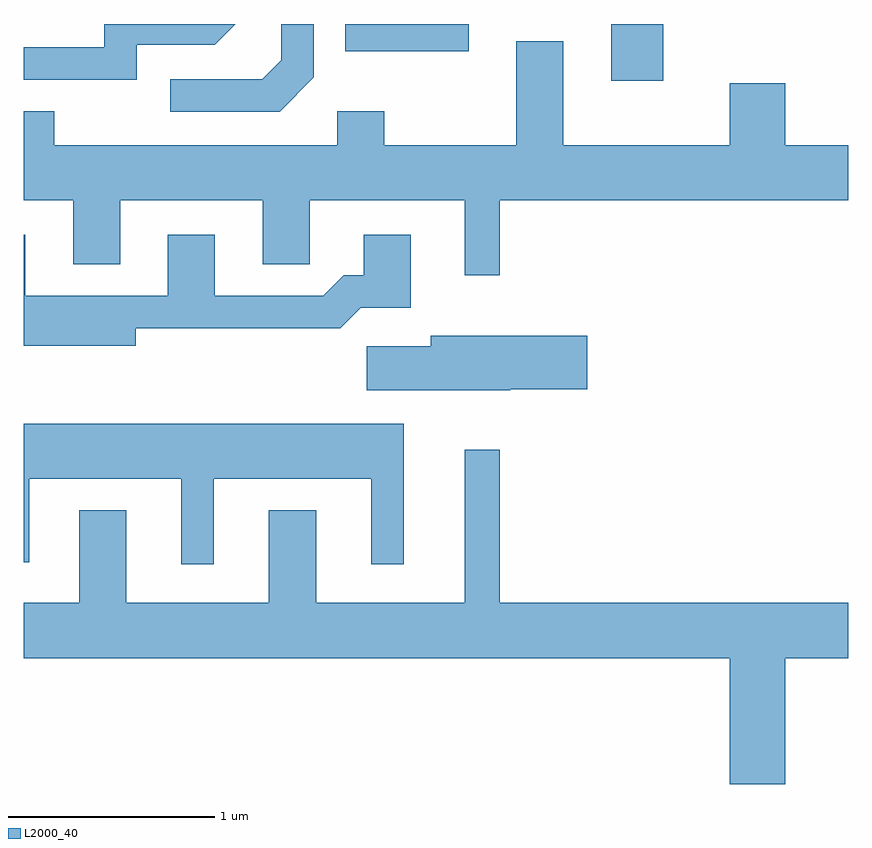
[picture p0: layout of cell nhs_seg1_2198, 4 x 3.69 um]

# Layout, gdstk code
import gdstk
lib = gdstk.Library(unit=1e-6, precision=1e-09)
def R(c, l, rs):  # rectangles x0, y0, x1, y1
    for r in rs: c.add(gdstk.rectangle(r[:2], r[2:], *l))
def P(c, l, *ps):  # polygons
    for p in ps: c.add(gdstk.Polygon(p, *l))
L2000_40 = (2000, 40)

nhs_seg1_2198 = lib.new_cell('nhs_seg1_2198')
R(nhs_seg1_2198, L2000_40, [(254.461,953.436,254.714,953.712), (253.171,953.581,253.769,953.712)])
P(nhs_seg1_2198, L2000_40, [(252.159,953.611),(252.537,953.611),(252.637,953.712),(252.001,953.712),(252.001,953.599),(251.611,953.599),(251.611,953.441),(252.159,953.441)],
  [(253.019,953.454),(253.019,953.712),(252.861,953.712),(252.861,953.537),(252.769,953.444),(252.323,953.444),(252.323,953.286),(252.852,953.286)],
  [(253.919,952.856),(255.611,952.856),(255.611,953.124),(255.304,953.124),(255.304,953.424),(255.036,953.424),(255.036,953.124),(254.229,953.124),(254.229,953.629),(254.001,953.629),(254.001,953.124),(253.359,953.124),(253.359,953.289),(253.131,953.289),(253.131,953.124),(251.759,953.124),(251.759,953.289),(251.611,953.289),(251.611,952.856),(251.851,952.856),(251.851,952.546),(252.079,952.546),(252.079,952.856),(252.771,952.856),(252.771,952.546),(252.999,952.546),(252.999,952.856),(253.751,952.856),(253.751,952.493),(253.919,952.493)],
  [(252.154,952.236),(253.147,952.236),(253.247,952.336),(253.489,952.336),(253.489,952.689),(253.261,952.689),(253.261,952.494),(253.164,952.494),(253.064,952.394),(252.539,952.394),(252.539,952.689),(252.311,952.689),(252.311,952.394),(251.619,952.394),(251.619,952.689),(251.611,952.689),(251.611,952.151),(252.154,952.151)],
  [(253.97,951.941),(254.344,951.941),(254.344,952.199),(253.586,952.199),(253.586,952.149),(253.276,952.149),(253.276,951.936),(253.97,951.936)],
  [(252.534,951.506),(253.296,951.506),(253.296,951.093),(253.454,951.093),(253.454,951.774),(251.611,951.774),(251.611,951.101),(251.639,951.101),(251.639,951.506),(252.376,951.506),(252.376,951.093),(252.534,951.093)],
  [(255.304,950.636),(255.611,950.636),(255.611,950.904),(253.919,950.904),(253.919,951.648),(253.751,951.648),(253.751,950.904),(253.029,950.904),(253.029,951.354),(252.801,951.354),(252.801,950.904),(252.109,950.904),(252.109,951.354),(251.881,951.354),(251.881,950.904),(251.611,950.904),(251.611,950.636),(255.036,950.636),(255.036,950.026),(255.304,950.026)])

lib.write_gds('nhs_seg1_2198.gds')
